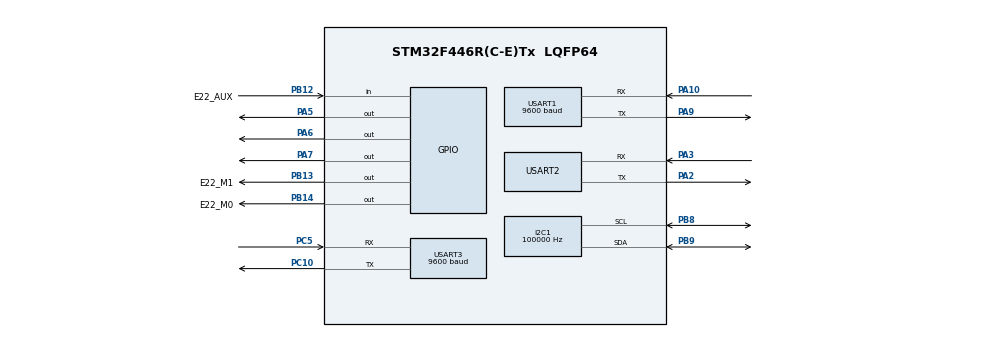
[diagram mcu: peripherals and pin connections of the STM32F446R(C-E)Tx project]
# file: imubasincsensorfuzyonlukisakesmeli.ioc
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I2C1.ClockSpeed=100000
Mcu.Family=STM32F4
Mcu.Name=STM32F446R(C-E)Tx
Mcu.Package=LQFP64
NVIC.PriorityGroup=NVIC_PRIORITYGROUP_4
NVIC.TIM3_IRQn=true\:0\:0\:false\:false\:true\:true\:true\:true
NVIC.USART1_IRQn=true\:0\:0\:false\:false\:true\:true\:true\:true
NVIC.USART2_IRQn=true\:0\:0\:false\:false\:true\:true\:true\:true
NVIC.USART3_IRQn=true\:0\:0\:false\:false\:true\:true\:true\:true
PA10.Mode=Asynchronous
PA10.Signal=USART1_RX
PA13.Mode=Serial_Wire
PA13.Signal=SYS_JTMS-SWDIO
PA14.Mode=Serial_Wire
PA14.Signal=SYS_JTCK-SWCLK
PA2.Mode=Asynchronous
PA2.Signal=USART2_TX
PA3.Mode=Asynchronous
PA3.Signal=USART2_RX
PA5.Signal=GPIO_Output
PA6.Signal=GPIO_Output
PA7.Signal=GPIO_Output
PA9.Mode=Asynchronous
PA9.Signal=USART1_TX
PB10.Signal=I2C2_SCL
PB12.GPIO_Label=E22_AUX
PB12.Signal=GPIO_Input
PB13.GPIO_Label=E22_M1
PB13.Signal=GPIO_Output
PB14.GPIO_Label=E22_M0
PB14.Signal=GPIO_Output
PB3.Signal=I2C2_SDA
PB8.GPIO_Pu=GPIO_PULLUP
PB8.Mode=I2C
PB8.Signal=I2C1_SCL
PB9.GPIO_Pu=GPIO_PULLUP
PB9.Mode=I2C
PB9.Signal=I2C1_SDA
PC10.Mode=Asynchronous
PC10.Signal=USART3_TX
PC5.Mode=Asynchronous
PC5.Signal=USART3_RX
ProjectManager.HeapSize=0x200
ProjectManager.StackSize=0x400
ProjectManager.TargetToolchain=STM32CubeIDE
RCC.CortexFreq_Value=16000000
RCC.USBFreq_Value=96000000
RCC.VCOOutputFreq_Value=192000000
TIM3.Period=999
TIM3.Prescaler=159
USART1.BaudRate=9600
USART1.VirtualMode=VM_ASYNC
USART2.VirtualMode=VM_ASYNC
USART3.BaudRate=9600
USART3.VirtualMode=VM_ASYNC
VP_TIM1_VS_ClockSourceINT.Mode=Internal
VP_TIM3_VS_ClockSourceINT.Mode=Internal
board=custom

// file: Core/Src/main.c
/* USER CODE BEGIN Header */
/**
  ******************************************************************************
  * @file           : main.c
  * @brief          : Main program body
  ******************************************************************************
  * @attention
  *
  * Copyright (c) 2026 STMicroelectronics.
  * All rights reserved.
  *
  * This software is licensed under terms that can be found in the LICENSE file
  * in the root directory of this software component.
  * If no LICENSE file comes with this software, it is provided AS-IS.
  *
  ******************************************************************************
  */
/* USER CODE END Header */
#include "main.h"

/* USER CODE BEGIN Includes */
#include "main.h"
#include "ms5611.h"
#include <math.h>
#include <stdint.h>
#include <string.h>
#include <stdio.h>
#include "LoRa_E22.h"

#include "flight_control.h"
#define RAD_TO_DEG 57.29577951
//roketin telemetri paketi bu şekilde olacak
#pragma pack(push, 1)

#pragma pack(pop)

// ----> ŞU SATIRI KESİNLİKLE EKLEMELİSİN <----

// --- BNO055 KALMAN YAPISI ---
typedef struct {
    float Q_angle, Q_bias, R_measure, angle, bias;
    float P[2][2];
} Kalman_t;
Kalman_t kalman_pitch;
uint32_t bno_son_zaman = 0;
volatile uint8_t timer_10ms_bayrak = 0;
// --- İRTİFA İÇİN 2 DURUMLU (STATE) KALMAN FİLTRESİ ---
typedef struct {
    float h;        // İrtifa (Metre)
    float v;        // Dikey Hız (Metre/Saniye) - Sadece filtre kararlılığı için hesaplanır
    float P[2][2];  // Hata Kovaryans Matrisi
    float Q_accel;  // İvmeölçer Süreç Gürültüsü
    float R_baro;   // Barometre Ölçüm Gürültüsü
} Kalman_Irtifa_t;

 Kalman_Irtifa_t IrtifaFiltresi;

// Yerçekimi sabiti
#define GRAVITY 9.80665f

// --- BNO055 DEĞİŞKENLERİ ---
#define BNO055_I2C_ADDR (0x28 << 1)
#define BNO055_OPR_MODE_REG 0x3D
#define OPR_MODE_CONFIG 0x00
#define OPR_MODE_ACCGYRO 0x05 // Sadece İvme ve Jiro, füzyon kapalı

// --- MS5611 DEĞİŞKENLERİ ---
//diğer dosyada

extern TIM_HandleTypeDef htim3; // Timer3 kullanacağımızı varsayıyoruz

Lora_t lora;
Lora_Config_t loraConfig;

UartHandler_t uart3;
/* USER CODE END Includes */

I2C_HandleTypeDef hi2c1;

TIM_HandleTypeDef htim1;
TIM_HandleTypeDef htim3;

UART_HandleTypeDef huart1;
UART_HandleTypeDef huart2;
UART_HandleTypeDef huart3;

/* USER CODE BEGIN PV */

volatile uint8_t bulunan_adresler[10] = {0}; // Bulunan sensörlerin adreslerini tutacak
volatile uint8_t cihaz_sayisi = 0;           // Kaç tane sensör bulduğunu sayacak

volatile uint32_t uart1_kesme_sayaci = 0;
volatile float anlik_deniz_seviyesi_irtifa = 0.0f;
extern volatile uint8_t ms5611_durum;
extern volatile uint32_t D1;
extern volatile uint32_t D2;

GPS_t                  rocketGPS;   // Tanım burada
volatile RoketTelemetri paket;      // Tanım burada

uint8_t rx_data;             // UART'tan anlık gelen tek karakter
char rx_buffer[100];         // GPS satırını biriktirdiğimiz dizi
uint8_t rx_index = 0;        // Dizinin neresinde olduğumuzu tutan sayaç
volatile char gps_sentence[100];      // İşlenecek tam satır
volatile uint8_t sentence_ready = 0;  // Yeni tam satır geldiğini belirten bayrak
        // GPS verilerini tutan yapı

volatile float acc_x = 0.0f;
volatile float acc_y = 0.0f;
volatile float acc_z = 0.0f;
volatile float gyro_x = 0.0f;
volatile float gyro_y = 0.0f;
volatile float gyro_z = 0.0f;

volatile float yer_irtifasi = 0.0f;
volatile uint8_t yer_irtifasi_alindi = 0;
volatile float toplam = 0.0f;
volatile uint8_t ortalama_sayaci = 0;

/* USER CODE END PV */

void SystemClock_Config(void);
static void MX_GPIO_Init(void);
static void MX_I2C1_Init(void);
static void MX_TIM3_Init(void);
static void MX_USART1_UART_Init(void);
static void MX_USART2_UART_Init(void);
static void MX_TIM1_Init(void);
static void MX_USART3_UART_Init(void);

/* USER CODE BEGIN 0 */

//*************BURASI MAİN İÇERİSİNDE ÇAĞIRILACAK***************

        //irtifa için imu ve basıncı tek kalmana sokup dikey hız ile daha dengeli veri elde ediyoruz.

        void Kalman_Irtifa_Init(Kalman_Irtifa_t *kf, float baslangic_irtifasi) {
            kf->h = baslangic_irtifasi;
            kf->v = 0.0f;

            // Başlangıç güvenilirliği (İlk başta belirsizlik yüksek)
            kf->P[0][0] = 10.0f; kf->P[0][1] = 0.0f;
            kf->P[1][0] = 0.0f;  kf->P[1][1] = 10.0f;

            // Gürültü Parametreleri (Test uçuşlarına göre ayarlanabilir)
            kf->Q_accel = 0.5f;   // İvme gürültüsü varyansı
            kf->R_baro = 2.0f;    // Barometre gürültüsü varyansı (Gürültülü sensör için yüksek)
        }

        // 1. ADIM: Her 10 ms'de bir ivmeölçer ile çalışır
        void Kalman_Irtifa_Predict(Kalman_Irtifa_t *kf, float dikey_ivme, float dt) {
            // Durum tahmini: h = h + v*dt + 0.5*a*dt^2
            kf->h += kf->v * dt + 0.5f * dikey_ivme * dt * dt;
            kf->v += dikey_ivme * dt;

            // Kovaryans güncellemesi: P = F*P*F^T + Q
            kf->P[0][0] += dt * (kf->P[1][0] + kf->P[0][1]) + (dt * dt * kf->P[1][1]) + (kf->Q_accel * dt * dt * dt * dt / 4.0f);
            kf->P[0][1] += dt * kf->P[1][1] + (kf->Q_accel * dt * dt * dt / 2.0f);
            kf->P[1][0] += dt * kf->P[1][1] + (kf->Q_accel * dt * dt * dt / 2.0f);
            kf->P[1][1] += kf->Q_accel * dt * dt;
        }

        //*****************************************************---------------------**********************-----------------*********a bgöefvhdx bnJLWGFVHB*******************
        // 2. ADIM: Barometre verisi (20 ms'de bir) hazır olduğunda çalışır
       /* genel callback 10 ms de bir çalışır, ımu veri verebilir 10 ms de bir o yüzden predict
		çalışır ama baro ms511 state machine ile ımuyu bekletmeden if bloğunun içine girmeden,
		hazır olduğunda if bloğunun içine girirek 20 ms de bir okunur yani o halde update ise 20 ms de bir çalışır
		yalnız update in ihtiyaç duyduğu kf->h ve ve p ler (p en başta sadece ımu ile hazırlanır sonra update alışmasından sonra
				basınçdan gelen veri ile de dengelenmiş olur sonra predict ile ımudan alınann veriye göre üstüne katılır tahminin) her 10 ms de bir güncel verilerin fotoğrafı ile oluşur yeaahhh.
				*/

        void Kalman_Irtifa_Update(Kalman_Irtifa_t *kf, float olculen_irtifa) {
            // y = z - H*X (Fark)
            float y = olculen_irtifa - kf->h;

            // S = H*P*H^T + R
            float S = kf->P[0][0] + kf->R_baro;

            // Kalman Kazancı (K = P*H^T / S)
            float K0 = kf->P[0][0] / S;
            float K1 = kf->P[1][0] / S;

            // Durumu Güncelle (X = X + K*y)
            kf->h += K0 * y;
            kf->v += K1 * y;

            // Kovaryansı Güncelle (P = (I - K*H)*P)
            float P00_temp = kf->P[0][0];
            float P01_temp = kf->P[0][1];
            kf->P[0][0] -= K0 * P00_temp;
            kf->P[0][1] -= K0 * P01_temp;
            kf->P[1][0] -= K1 * P00_temp;
            kf->P[1][1] -= K1 * P01_temp;
        }

        //BNO FONKSİYONLARI VE KALMAN FİLTRESİ

        void i2c_register_yaz(uint8_t reg, uint8_t veri) {
            HAL_I2C_Mem_Write(&hi2c1, BNO055_I2C_ADDR, reg, I2C_MEMADD_SIZE_8BIT, &veri, 1, 100);
        }
/*
        int16_t i2c_register_oku16(uint8_t reg) {
            uint8_t data[2]= {0, 0};
            HAL_I2C_Mem_Read(&hi2c1, BNO055_I2C_ADDR, reg, I2C_MEMADD_SIZE_8BIT, data, 2, 100);
            return (int16_t)((data[1] << 8) | data[0]);
        }
       */

        int16_t i2c_register_oku16(uint8_t reg) {
            uint8_t data[2]= {0, 0};
            HAL_StatusTypeDef durum = HAL_I2C_Mem_Read(&hi2c1, BNO055_I2C_ADDR, reg, I2C_MEMADD_SIZE_8BIT, data, 2, 100);

            // Eğer iletişim hatası veya kilitlenme varsa
            if (durum != HAL_OK) {
                // Ana döngüdeki donanım sıfırlama (hayat öpücüğü) bloğunu zorla tetikle
                hi2c1.ErrorCode = HAL_I2C_ERROR_AF;
                return 0;
            }

            return (int16_t)((data[1] << 8) | data[0]);
        }

        //-----------------------------------------------------------------------------------------------------
        void I2C_Tarayici_Calistir(void) {
            char mesaj[60];
            uint8_t cihaz_sayisi = 0;

            sprintf(mesaj, "\r\n--- I2C TARAMASI BASLIYOR ---\r\n");
            HAL_UART_Transmit(&huart2, (uint8_t*)mesaj, strlen(mesaj), 100);

            // 1'den 127'ye kadar tüm olası I2C adreslerini tara
            for (uint8_t i = 1; i < 128; i++) {
                // STM32 HAL kütüphanesi adresi 1 bit sola kaydırılmış (<< 1) olarak ister
                HAL_StatusTypeDef sonuc = HAL_I2C_IsDeviceReady(&hi2c1, (uint16_t)(i << 1), 3, 10);

                if (sonuc == HAL_OK) {
                    sprintf(mesaj, "-> Cihaz Bulundu! Adres: 0x%02X\r\n", i);
                    HAL_UART_Transmit(&huart2, (uint8_t*)mesaj, strlen(mesaj), 100);
                    cihaz_sayisi++;
                }
            }

            if (cihaz_sayisi == 0) {
                sprintf(mesaj, "HATA: Hicbir I2C cihazi bulunamadi!\r\n");
            } else {
                sprintf(mesaj, "Tarama Bitti. Toplam Cihaz: %d\r\n", cihaz_sayisi);
            }
            HAL_UART_Transmit(&huart2, (uint8_t*)mesaj, strlen(mesaj), 100);
            sprintf(mesaj, "-----------------------------\r\n");
            HAL_UART_Transmit(&huart2, (uint8_t*)mesaj, strlen(mesaj), 100);
        }
        //------------------------------------------------------------------------------------------------------

        void bno055_kurulum() {
            i2c_register_yaz(BNO055_OPR_MODE_REG, OPR_MODE_CONFIG);
            HAL_Delay(25);
            i2c_register_yaz(BNO055_OPR_MODE_REG, OPR_MODE_ACCGYRO);
            HAL_Delay(15);

            kalman_pitch.Q_angle = 0.001f; kalman_pitch.Q_bias = 0.003f; kalman_pitch.R_measure = 0.01f;
            bno_son_zaman = HAL_GetTick();
        }

        float kalman_hesapla_pitch(Kalman_t *klm, float yeni_olcum, float gyro_hizi, float dt) {
            klm->angle += dt * (gyro_hizi - klm->bias);
            klm->P[0][0] += dt * (dt * klm->P[1][1] - klm->P[0][1] - klm->P[1][0] + klm->Q_angle);
            klm->P[0][1] -= dt * klm->P[1][1]; klm->P[1][0] -= dt * klm->P[1][1];
            klm->P[1][1] += klm->Q_bias * dt;

            float y = yeni_olcum - klm->angle;

            float S = klm->P[0][0] + klm->R_measure;
            float K0 = klm->P[0][0] / S; float K1 = klm->P[1][0] / S;

            klm->angle += K0 * y; klm->bias += K1 * y;
            float P00_temp = klm->P[0][0]; float P01_temp = klm->P[0][1];
            klm->P[0][0] -= K0 * P00_temp; klm->P[0][1] -= K0 * P01_temp;
            klm->P[1][0] -= K1 * P00_temp; klm->P[1][1] -= K1 * P01_temp;

            return klm->angle;
        }

        void HAL_TIM_PeriodElapsedCallback(TIM_HandleTypeDef *htim)
        {
            // Hangi timer'ın kesmeye girdiğini kontrol ediyoruz (Sizin projenizde TIM3)
            if(htim->Instance == TIM3)
            {
                // Sadece bayrağı kaldır. Başka HİÇBİR işlem yapma, okuma yapma, bekleme yapma!
                timer_10ms_bayrak = 1;
            }
        }

        //KESME FONKSİYONU ÇALIŞIP BAYRAK 1 YAPIP ÇIKIYOR HEMEN KESMEDE AKSAMA MEYDANA GELMEZ

        void I2C_Hatti_Kurtar(void)
                {
                    GPIO_InitTypeDef GPIO_InitStruct = {0};

                    // 1. STM32 I2C DONANIM BUG'I ÇÖZÜMÜ: Çevre biriminin şalterini indirip kaldır!
                    __HAL_RCC_I2C1_FORCE_RESET();
                    HAL_Delay(2);
                    __HAL_RCC_I2C1_RELEASE_RESET();

                    // 2. I2C çevre birimini tamamen kapat
                    HAL_I2C_DeInit(&hi2c1);

                    // 3. SCL ve SDA'yı manuel GPIO çıkışı yap (Open-Drain, Pull-Up ile)
                    __HAL_RCC_GPIOB_CLK_ENABLE();

                    GPIO_InitStruct.Pin   = GPIO_PIN_8 | GPIO_PIN_9; // PB8=SCL, PB9=SDA (F446RE Pinleri)
                    GPIO_InitStruct.Mode  = GPIO_MODE_OUTPUT_OD;
                    GPIO_InitStruct.Pull  = GPIO_PULLUP;
                    GPIO_InitStruct.Speed = GPIO_SPEED_FREQ_LOW;
                    HAL_GPIO_Init(GPIOB, &GPIO_InitStruct);

                    // SDA'yı HIGH bırak, SCL'i de HIGH'dan başlat
                    HAL_GPIO_WritePin(GPIOB, GPIO_PIN_9, GPIO_PIN_SET); // SDA HIGH
                    HAL_GPIO_WritePin(GPIOB, GPIO_PIN_8, GPIO_PIN_SET); // SCL HIGH
                    HAL_Delay(1);

                    // 4. SCL'e 9 adet manuel darbe ver (Sensörleri serbest bırak)
                    for (int i = 0; i < 9; i++)
                    {
                        HAL_GPIO_WritePin(GPIOB, GPIO_PIN_8, GPIO_PIN_RESET); // SCL LOW
                        HAL_Delay(1);
                        HAL_GPIO_WritePin(GPIOB, GPIO_PIN_8, GPIO_PIN_SET);   // SCL HIGH
                        HAL_Delay(1);

                        // SDA HIGH'a çıktı mı? (Sensör hattı bıraktı mı kontrol et)
                        if (HAL_GPIO_ReadPin(GPIOB, GPIO_PIN_9) == GPIO_PIN_SET)
                        {
                            break;
                        }
                    }

                    // 5. STOP koşulu üret
                    HAL_GPIO_WritePin(GPIOB, GPIO_PIN_9, GPIO_PIN_RESET);
                    HAL_Delay(1);
                    HAL_GPIO_WritePin(GPIOB, GPIO_PIN_8, GPIO_PIN_SET);
                    HAL_Delay(1);
                    HAL_GPIO_WritePin(GPIOB, GPIO_PIN_9, GPIO_PIN_SET);
                    HAL_Delay(1);

                    // 6. Pinleri tekrar I2C moduna al ve çevrebrimini yeniden başlat
                    MX_I2C1_Init();

                    // 7. MS5611 STATE MACHINE'İ BAŞA SAR (Kilitlenmeyi önler)
                    ms5611_durum = 0;

                    // 8. Sensörleri yeniden kur
                    bno055_kurulum();
                    MS5611_Kurulum_Yap();

                    // 9. Kalman hafızasını temizle
                    yer_irtifasi_alindi = 0;
                    ortalama_sayaci     = 0;
                    toplam              = 0.0f;
                    Kalman_Irtifa_Init(&IrtifaFiltresi, 0.0f);

                    // Hata bayrağını tertemiz yap
                    hi2c1.ErrorCode = 0;
                }

/* USER CODE END 0 */

int main(void)
{

  /* MCU Configuration--------------------------------------------------------*/

  /* Reset of all peripherals, Initializes the Flash interface and the Systick. */
  HAL_Init();

  /* Configure the system clock */
  SystemClock_Config();

  /* Initialize all configured peripherals */
  MX_GPIO_Init();
  MX_I2C1_Init();
  MX_TIM3_Init();
  MX_USART1_UART_Init();
  MX_USART2_UART_Init();
  MX_TIM1_Init();
  MX_USART3_UART_Init();
  /* USER CODE BEGIN 2 */
  HAL_Delay(500);

  // SESSİZ I2C TARAYICI (Live Expressions İçin)
    cihaz_sayisi = 0;
    for(uint8_t i = 1; i < 128; i++) {
        // Adresi 1 bit sola kaydırarak yolluyoruz
        HAL_StatusTypeDef sonuc = HAL_I2C_IsDeviceReady(&hi2c1, (uint16_t)(i << 1), 3, 10);

        if(sonuc == HAL_OK) {
            if(cihaz_sayisi < 10) {
                bulunan_adresler[cihaz_sayisi] = i; // Cihaz bulursa adresi diziye kaydet
                cihaz_sayisi++;
            }
        }
    }

  // I2C Hattını Tara ve Sonuçları Gönder
    I2C_Tarayici_Calistir();

  bno055_kurulum();  // BNO055'i uçuş moduna al
  MS5611_Kurulum_Yap();

      paket.ucus_durumu = 0; // Roket rampada

      HAL_TIM_Base_Start_IT(&htim3); // ÇOK KRİTİK: 10ms sayacını (kesmeyi) başlat!HEYYYYYYYYYYYYYUNUTMA
      // ---> GPS İÇİN UART DİNLEMESİNİ BAŞLAT (huart1 varsayımıyla) <---
      //-------------------------------------**********************************************************GPS

      // GPS BAŞLAMADAN ÖNCE TAŞMAYI TEMİZLE Kİ KİLİTLENMESİN
        __HAL_UART_CLEAR_OREFLAG(&huart1);
        HAL_UART_Receive_IT(&huart1, &rx_data, 1);

        RingBuffer_t rb;
        uart3.ringBuffer = &rb;
        uart3.uart = &huart3;
        Uart_Init(&uart3);

        Lora_Init_t loraInit;
        loraInit.auxPin = E22_AUX_Pin;
        loraInit.auxPort = E22_AUX_GPIO_Port;
        loraInit.m0Pin = E22_M0_Pin;
        loraInit.m0Port = E22_M0_GPIO_Port;
        loraInit.m1Pin = E22_M1_Pin;
        loraInit.m1Port = E22_M1_GPIO_Port;
        loraInit.baudRate = 9600;
        loraInit.bufferSize = 240;
        loraInit.prefix = 10;
        loraInit.suffix = 20;

        Lora_Init(&lora, &loraInit, &uart3);
  /* USER CODE END 2 */

  /* Infinite loop */
  /* USER CODE BEGIN WHILE */
      uint32_t son_telemetri_zamani = 0;
         char mesaj[150];
  while (1)
  {
    /* USER CODE END WHILE */

    /* USER CODE BEGIN 3 */

  if (timer_10ms_bayrak == 1)
  	        {

	  if (hi2c1.ErrorCode != 0) {
	      I2C_Hatti_Kurtar();  // Tek satır, her şeyi halleder
	  }

  	            timer_10ms_bayrak = 0;  // AMA ZATEN BU KOD BİTENE KADAR 10 MSÇOKTAN GEÇER BİR MANTIĞI YOK DEĞİL ÇÜNKÜ ALTTAKİ MS5611 İÇİN BEKLEME YAPMIYORUZ SÜRE DOLDU MU DİYE KONTROL EDİYORUZ
  	           // O YÜZDEN 2 MS SÜRER VE GERİYE 8 MS BOŞLUK KALIR. Sabit kalması kalman filtresinin delta t si için mantıklı
  				// yani sabit 10 ms olması. Ayrıca ımu içinde 10 ms süre iyi. 2 ms de bir kodu sensörden veri almaya yollarsan olmaz.
  	            // tekli kalman örneğin sadece barometre bile olsa Q süreç gürültüsü zamandan etkilenir, pitch için ise gyroyu zamandal integralleyip üst üste topluyorduk zten yine sabit zaman ihtiyaç duyar

  	          if (sentence_ready == 1) {
  	        	sentence_ready = 0; // Bayrağı indir
  	          	  	            if (strncmp(gps_sentence, "$GPGGA", 6) == 0 || strncmp(gps_sentence, "$GNGGA", 6) == 0) {
  	          	  	                char *ptr = gps_sentence;
  	          	  	                int comma_count = 0;

  	          	  	              while (*ptr) {
  	          	  	                  if (*ptr == ',') {
  	          	  	                      comma_count++;

  	          	  	                      // Sadece 2. (Enlem) ve 4. (Boylam) virgülde Derece/Dakika hesabı yap!
  	          	  	                      if (comma_count == 2 || comma_count == 4) {
  	          	  	                          float raw = atof(ptr + 1);
  	          	  	                          int derece = (int)(raw / 100);
  	          	  	                          float dakika = raw - (derece * 100);

  	          	  	                          if (comma_count == 2) rocketGPS.latitude = derece + dakika / 60.0f;
  	          	  	                          if (comma_count == 4) rocketGPS.longitude = derece + dakika / 60.0f;
  	          	  	                      }

  	          	  	                      // Diğer verileri normal al
  	          	  	                      if (comma_count == 6) rocketGPS.fix_quality = atoi(ptr + 1);
  	          	  	                      if (comma_count == 9) rocketGPS.altitude = atof(ptr + 1);
  	          	  	                  }
  	          	  	                  ptr++;
  	          	  	                  if (comma_count > 9) break;
  	          	  	              }
  	          	  	            }

  	          	  	        }

  	                    uint32_t su_an = HAL_GetTick();
  	                    paket.zaman_damgasi = su_an;

  	                    // 1. BNO055 OKUMA VE KALMAN (Her 10ms'de bir)
  	                    // dt her zaman sabit 0.01 saniye (10ms) olduğu için hesaplama mükemmel çalışır
  	                    //float dt = 0.01f;

  	                    // 1. BNO055 OKUMA VE KALMAN (Her 10ms'de bir)
  	                    float dt = 0.01f;

  	                  acc_x  = i2c_register_oku16(0x08) / 100.0f;
  	                  acc_y  = i2c_register_oku16(0x0A) / 100.0f;
  	                  acc_z  = i2c_register_oku16(0x0C) / 100.0f;
  	                  gyro_x = i2c_register_oku16(0x14) / 16.0f;
  	                  gyro_y = i2c_register_oku16(0x16) / 16.0f;
  	                  gyro_z = i2c_register_oku16(0x18) / 16.0f;

  	                                  // Roket dik konumda 0, yataya geldiğinde 90 derece kuralı:

  	               // float raw_pitch = atan2(acc_x, sqrt((acc_y * acc_y) + (acc_z * acc_z)));

  	              // float current_pitch = raw_pitch * RAD_TO_DEG;

  	                float yatay_ivme = sqrtf(acc_y*acc_y + acc_z*acc_z);
  	                float raw_pitch = atan2f(yatay_ivme, acc_x);
  	                float current_pitch = raw_pitch * RAD_TO_DEG;

  	                  /*
  	                // 1. Yatay eksenlerin (X ve Y) vektörel büyüklüğünü alıyoruz (Sadece pozitif değer üretir)
  	                float yatay_ivme = sqrt((acc_x * acc_x) + (acc_y * acc_y));

  	                // 2. atan2(Y, X) kuralına göre:
  	                // - Y parametresine yatay bileşkeyi koyuyoruz.
  	                // - X parametresine boylamasına eksen olan Z'yi koyuyoruz.
  	                // Z ekseni dik konumda -9 olduğu için önüne (-) koyarak 0 dereceyi referans noktası yapıyoruz.
  	                float raw_pitch = atan2(yatay_ivme, -acc_z);
  	                float current_pitch = raw_pitch * RAD_TO_DEG;
*/
  	                // 3. Kalman filtresine gönderiyoruz
  	                paket.pitch_acisi = kalman_hesapla_pitch(&kalman_pitch, current_pitch, -gyro_y, dt);

  	                          //  paket.pitch_acisi = current_pitch;

  	                                  // --- İRTİFA İÇİN DİKEY İVME HESABI ---
  	                                          // Roketin X ekseni boylamasına ise, dik dururken acc_x 9.81 gösterir.
  	                                          // Açıya göre bunu dünya eksenindeki dikey ivmeye çevirip yerçekimini çıkarıyoruz.
  	                                          // pitch_acisi dik konumda 0 ise:
  	                             //   float pitch_rad = paket.pitch_acisi / RAD_TO_DEG;
  	                             //   float dikey_ivme = (acc_x * sin(pitch_rad) + acc_z * cos(pitch_rad)) - GRAVITY;
  	                               // YENİ VE KUSURSUZ KISIM:
  	                               float ivme_vektoru = sqrt((acc_x * acc_x) + (acc_y * acc_y) + (acc_z * acc_z));
  	                               float dikey_ivme = ivme_vektoru - GRAVITY;
  	                                          // Kalman 1. Adım: Her 10 ms'de İvme ile Tahmin (Predict)
  	                                          Kalman_Irtifa_Predict(&IrtifaFiltresi, dikey_ivme, dt);

  	                                  // 2. MS5611 STATE MACHINE    BURASI DİĞER DOSYADA
  	                                  // Döngünün kendisi zaten tam 10ms sürdüğü için ekstra zaman kontrolüne gerek yok!
  	                                  //ms5611 süre kontrolüyle non blocking yapalım
  	                                        MS5611_Basinc_Guncelle();
  	                            //-------------------------------------------------------------------------------------------------------------------------------------------------------------------------------------------------------
  	                                      anlik_deniz_seviyesi_irtifa = 44330.0f * (1.0f - powf(paket.basinc_mbar / 1013.25f, 0.190295f));

  	                                      // Rampa İrtifasını Kaydetme (Referans Noktası)
  	                                      //****** ROKETİN RAMPADA BULUNDUĞU İLİN İRTİFASI BURAYA GİRİLECEK ŞİMDİLİK 0 KABUL EDİYORUZ***********

                                    // yer irtifası = anlik deniz seviyesi irtifa ama ilk 5 ölçümün ortalamasını al
  	                                    if (paket.basinc_mbar > 100.0f) {
  	                                      if (yer_irtifasi_alindi == 0) {
  	                                    	// İlk N ölçümün ortalamasını al

  	                                    	if (ortalama_sayaci < 20) {
  	                                    	    toplam += anlik_deniz_seviyesi_irtifa;
  	                                    	    ortalama_sayaci++;
  	                                    	} else if (yer_irtifasi_alindi == 0) {
  	                                    	    yer_irtifasi = toplam / 20.0f;
  	                                    	    yer_irtifasi_alindi = 1;
  	                                    	    Kalman_Irtifa_Init(&IrtifaFiltresi, 0.0f);
  	                                    	}

  	                                      }
  	                                    }
  	                                      float baro_irtifa_metre = anlik_deniz_seviyesi_irtifa - yer_irtifasi;
  	                                    if (yer_irtifasi_alindi == 1) {
  	                                                  // Kalman 2. Adım: Barometre verisi hazır olduğunda Güncelle (Update)
  	                                                  Kalman_Irtifa_Update(&IrtifaFiltresi, baro_irtifa_metre);
  	                                    }

  	                                  }
  	                                      // Roketin yerden yüksekliğini ayarlayalım ve güncelleyelim
  	                                     paket.irtifa_metre = IrtifaFiltresi.h;

  	                                 //  paket.irtifa_metre = 3700.0f;

  	                                      //PAKET UCUS DURUMU=0 hiçbirşey açılmadı (rampada veya tırmanışta) =1 sürükleme paraşütü açıldı 2 ana paraşüt açıldı ve bitti
  	                                   Ucus_Durum_Kontrol();

uint32_t su_an_telemetri = HAL_GetTick();

	        // Eğer son gönderimden bu yana 50 ms (veya istediğiniz süre) geçtiyse
	        if (su_an_telemetri - son_telemetri_zamani >= 200)  //paketi eğer  50 ms geçtiyse kargoya ver (uarta ver)
	        {
	            son_telemetri_zamani = su_an_telemetri;

	            sprintf(mesaj, "Zaman: %lu | Durum: %d | Pitch: %d | Basinc: %d | Enlem: %.4f | Boylam: %.4f\r\n",
	                              paket.zaman_damgasi,
	                              paket.ucus_durumu,
	                              (int)paket.pitch_acisi,
	                              (int)paket.basinc_mbar,
	                              rocketGPS.latitude,
	                              rocketGPS.longitude);

	            // DİKKAT: _IT (Interrupt) veya _DMA versiyonunu kullanıyoruz!
	            // İşlemci burada beklemez, sadece veriyi donanıma iletir ve anında alt satıra geçer.
	            paket.accX = acc_x;
	            paket.accY = acc_y;
	            paket.accZ = acc_z;
	            paket.gyroX = gyro_x;
	            paket.gyroY = gyro_y;
	            paket.gyroZ = gyro_z;
	            paket.gps = rocketGPS;
	            Lora_Write(&lora, 101, 18, &paket, sizeof(paket));
	            // 50 ms geçti yeni paket kargo geldi ama hala eskisini teslim ediyor ise bunun uart hızını ayarlaman lazım.
	            // eğer uart hızın 115.200 bit/saniye  ise  sanieyede yani 1000 ms de 11520 (1 karakter 10 bit) karakter gönderirsin ama senin paketin 120 char zaten.
	            //eğer 9600 bps yaparsan 960 karakteri 1000 ms de 120 karakteri de 110 ms de gönderir yani 50 yi aşar ve yetiştiremediği paket uçar 3. paketi ancak götürür, işi o zamana biter
// KESME OLMASAYDI (IT OLMASAYDI SADECE TRANSMİT OLSAYDI) verinin gitmesini beklemek uzun sürerdi ve bayrak o sırada kalkardı ve bizim 0 yapmamaızın önemi olmadan hep 1 olurdu.
	            //yani 10 ms yi geçer süre ve kalman çöker
	            //yer istasyonu 20 Hz yani bu paket saniyede 20 kez gidecek ve 1000 ms / 20 yani her 50 ms de bir bu paket gidecek
	            // kesme ile sen bu verileri gönder, bittiğinde haber veririsin yani uartun meşgulunu rahata çekersin
	            // HAL_Delay(50); // <-- BU KESİNLİKLE SİLİNDİ!
	        }
}

  /* USER CODE END 3 */
}

void SystemClock_Config(void)
{
  RCC_OscInitTypeDef RCC_OscInitStruct = {0};
  RCC_ClkInitTypeDef RCC_ClkInitStruct = {0};

  /** Configure the main internal regulator output voltage
  */
  __HAL_RCC_PWR_CLK_ENABLE();
  __HAL_PWR_VOLTAGESCALING_CONFIG(PWR_REGULATOR_VOLTAGE_SCALE3);

  /** Initializes the RCC Oscillators according to the specified parameters
  * in the RCC_OscInitTypeDef structure.
  */
  RCC_OscInitStruct.OscillatorType = RCC_OSCILLATORTYPE_HSI;
  RCC_OscInitStruct.HSIState = RCC_HSI_ON;
  RCC_OscInitStruct.HSICalibrationValue = RCC_HSICALIBRATION_DEFAULT;
  RCC_OscInitStruct.PLL.PLLState = RCC_PLL_NONE;
  if (HAL_RCC_OscConfig(&RCC_OscInitStruct) != HAL_OK)
  {
    Error_Handler();
  }

  /** Initializes the CPU, AHB and APB buses clocks
  */
  RCC_ClkInitStruct.ClockType = RCC_CLOCKTYPE_HCLK|RCC_CLOCKTYPE_SYSCLK
                              |RCC_CLOCKTYPE_PCLK1|RCC_CLOCKTYPE_PCLK2;
  RCC_ClkInitStruct.SYSCLKSource = RCC_SYSCLKSOURCE_HSI;
  RCC_ClkInitStruct.AHBCLKDivider = RCC_SYSCLK_DIV1;
  RCC_ClkInitStruct.APB1CLKDivider = RCC_HCLK_DIV1;
  RCC_ClkInitStruct.APB2CLKDivider = RCC_HCLK_DIV1;

  if (HAL_RCC_ClockConfig(&RCC_ClkInitStruct, FLASH_LATENCY_0) != HAL_OK)
  {
    Error_Handler();
  }
}

static void MX_I2C1_Init(void)
{

  hi2c1.Instance = I2C1;
  hi2c1.Init.ClockSpeed = 100000;
  hi2c1.Init.DutyCycle = I2C_DUTYCYCLE_2;
  hi2c1.Init.OwnAddress1 = 0;
  hi2c1.Init.AddressingMode = I2C_ADDRESSINGMODE_7BIT;
  hi2c1.Init.DualAddressMode = I2C_DUALADDRESS_DISABLE;
  hi2c1.Init.OwnAddress2 = 0;
  hi2c1.Init.GeneralCallMode = I2C_GENERALCALL_DISABLE;
  hi2c1.Init.NoStretchMode = I2C_NOSTRETCH_DISABLE;
  if (HAL_I2C_Init(&hi2c1) != HAL_OK)
  {
    Error_Handler();
  }

}

static void MX_TIM1_Init(void)
{

  TIM_ClockConfigTypeDef sClockSourceConfig = {0};
  TIM_MasterConfigTypeDef sMasterConfig = {0};

  htim1.Instance = TIM1;
  htim1.Init.Prescaler = 0;
  htim1.Init.CounterMode = TIM_COUNTERMODE_UP;
  htim1.Init.Period = 65535;
  htim1.Init.ClockDivision = TIM_CLOCKDIVISION_DIV1;
  htim1.Init.RepetitionCounter = 0;
  htim1.Init.AutoReloadPreload = TIM_AUTORELOAD_PRELOAD_DISABLE;
  if (HAL_TIM_Base_Init(&htim1) != HAL_OK)
  {
    Error_Handler();
  }
  sClockSourceConfig.ClockSource = TIM_CLOCKSOURCE_INTERNAL;
  if (HAL_TIM_ConfigClockSource(&htim1, &sClockSourceConfig) != HAL_OK)
  {
    Error_Handler();
  }
  sMasterConfig.MasterOutputTrigger = TIM_TRGO_RESET;
  sMasterConfig.MasterSlaveMode = TIM_MASTERSLAVEMODE_DISABLE;
  if (HAL_TIMEx_MasterConfigSynchronization(&htim1, &sMasterConfig) != HAL_OK)
  {
    Error_Handler();
  }

}

static void MX_TIM3_Init(void)
{

  TIM_ClockConfigTypeDef sClockSourceConfig = {0};
  TIM_MasterConfigTypeDef sMasterConfig = {0};

  htim3.Instance = TIM3;
  htim3.Init.Prescaler = 159;
  htim3.Init.CounterMode = TIM_COUNTERMODE_UP;
  htim3.Init.Period = 999;
  htim3.Init.ClockDivision = TIM_CLOCKDIVISION_DIV1;
  htim3.Init.AutoReloadPreload = TIM_AUTORELOAD_PRELOAD_DISABLE;
  if (HAL_TIM_Base_Init(&htim3) != HAL_OK)
  {
    Error_Handler();
  }
  sClockSourceConfig.ClockSource = TIM_CLOCKSOURCE_INTERNAL;
  if (HAL_TIM_ConfigClockSource(&htim3, &sClockSourceConfig) != HAL_OK)
  {
    Error_Handler();
  }
  sMasterConfig.MasterOutputTrigger = TIM_TRGO_RESET;
  sMasterConfig.MasterSlaveMode = TIM_MASTERSLAVEMODE_DISABLE;
  if (HAL_TIMEx_MasterConfigSynchronization(&htim3, &sMasterConfig) != HAL_OK)
  {
    Error_Handler();
  }

}

static void MX_USART1_UART_Init(void)
{

  huart1.Instance = USART1;
  huart1.Init.BaudRate = 9600;
  huart1.Init.WordLength = UART_WORDLENGTH_8B;
  huart1.Init.StopBits = UART_STOPBITS_1;
  huart1.Init.Parity = UART_PARITY_NONE;
  huart1.Init.Mode = UART_MODE_TX_RX;
  huart1.Init.HwFlowCtl = UART_HWCONTROL_NONE;
  huart1.Init.OverSampling = UART_OVERSAMPLING_16;
  if (HAL_UART_Init(&huart1) != HAL_OK)
  {
    Error_Handler();
  }

}

static void MX_USART2_UART_Init(void)
{

  huart2.Instance = USART2;
  huart2.Init.BaudRate = 115200;
  huart2.Init.WordLength = UART_WORDLENGTH_8B;
  huart2.Init.StopBits = UART_STOPBITS_1;
  huart2.Init.Parity = UART_PARITY_NONE;
  huart2.Init.Mode = UART_MODE_TX_RX;
  huart2.Init.HwFlowCtl = UART_HWCONTROL_NONE;
  huart2.Init.OverSampling = UART_OVERSAMPLING_16;
  if (HAL_UART_Init(&huart2) != HAL_OK)
  {
    Error_Handler();
  }

}

static void MX_USART3_UART_Init(void)
{

  huart3.Instance = USART3;
  huart3.Init.BaudRate = 9600;
  huart3.Init.WordLength = UART_WORDLENGTH_8B;
  huart3.Init.StopBits = UART_STOPBITS_1;
  huart3.Init.Parity = UART_PARITY_NONE;
  huart3.Init.Mode = UART_MODE_TX_RX;
  huart3.Init.HwFlowCtl = UART_HWCONTROL_NONE;
  huart3.Init.OverSampling = UART_OVERSAMPLING_16;
  if (HAL_UART_Init(&huart3) != HAL_OK)
  {
    Error_Handler();
  }

}

static void MX_GPIO_Init(void)
{
  GPIO_InitTypeDef GPIO_InitStruct = {0};

  /* GPIO Ports Clock Enable */
  __HAL_RCC_GPIOA_CLK_ENABLE();
  __HAL_RCC_GPIOC_CLK_ENABLE();
  __HAL_RCC_GPIOB_CLK_ENABLE();

  /*Configure GPIO pin Output Level */
  HAL_GPIO_WritePin(GPIOA, GPIO_PIN_5|GPIO_PIN_6|GPIO_PIN_7, GPIO_PIN_RESET);

  /*Configure GPIO pin Output Level */
  HAL_GPIO_WritePin(GPIOB, E22_M1_Pin|E22_M0_Pin, GPIO_PIN_RESET);

  /*Configure GPIO pins : PA5 PA6 PA7 */
  GPIO_InitStruct.Pin = GPIO_PIN_5|GPIO_PIN_6|GPIO_PIN_7;
  GPIO_InitStruct.Mode = GPIO_MODE_OUTPUT_PP;
  GPIO_InitStruct.Pull = GPIO_NOPULL;
  GPIO_InitStruct.Speed = GPIO_SPEED_FREQ_LOW;
  HAL_GPIO_Init(GPIOA, &GPIO_InitStruct);

  /*Configure GPIO pins : PB10 PB3 */
  GPIO_InitStruct.Pin = GPIO_PIN_10|GPIO_PIN_3;
  GPIO_InitStruct.Mode = GPIO_MODE_AF_OD;
  GPIO_InitStruct.Pull = GPIO_NOPULL;
  GPIO_InitStruct.Speed = GPIO_SPEED_FREQ_VERY_HIGH;
  GPIO_InitStruct.Alternate = GPIO_AF4_I2C2;
  HAL_GPIO_Init(GPIOB, &GPIO_InitStruct);

  /*Configure GPIO pin : E22_AUX_Pin */
  GPIO_InitStruct.Pin = E22_AUX_Pin;
  GPIO_InitStruct.Mode = GPIO_MODE_INPUT;
  GPIO_InitStruct.Pull = GPIO_NOPULL;
  HAL_GPIO_Init(E22_AUX_GPIO_Port, &GPIO_InitStruct);

  /*Configure GPIO pins : E22_M1_Pin E22_M0_Pin */
  GPIO_InitStruct.Pin = E22_M1_Pin|E22_M0_Pin;
  GPIO_InitStruct.Mode = GPIO_MODE_OUTPUT_PP;
  GPIO_InitStruct.Pull = GPIO_NOPULL;
  GPIO_InitStruct.Speed = GPIO_SPEED_FREQ_LOW;
  HAL_GPIO_Init(GPIOB, &GPIO_InitStruct);

}

/* USER CODE BEGIN 4 */

void HAL_UART_RxCpltCallback(UART_HandleTypeDef *huart) {
    if (huart->Instance == USART1) {
    	 uart1_kesme_sayaci++;  // <-- sadece bunu ekle, geri kalan aynı kalıyor
        // Sadece \n (Yeni Satır) karakterini satır sonu kabul et
        if (rx_data == '\n') {
            rx_buffer[rx_index] = '\0';
            if (rx_index > 0) {
                strncpy(gps_sentence, rx_buffer, rx_index + 1);
                sentence_ready = 1;
            }
            rx_index = 0;
        }
        // \r karakterini (Satır Başı) görmezden gel!
        else if (rx_data != '\r') {
            if (rx_index < 99) {
                rx_buffer[rx_index++] = rx_data;
            }
        }
        HAL_UART_Receive_IT(&huart1, &rx_data, 1);
    }
    for(uint8_t i = 0; i < uartCount; i++) {
		if(huart == uartHandlers[i]->uart) {
			UartHandler_t* uartHandler = uartHandlers[i];
			RingBuffer_Enqueue(uartHandler->ringBuffer, &uartHandler->rxByte, 1);
			HAL_UART_Receive_IT(uartHandler->uart, &uartHandler->rxByte, 1);
			break;
		}
	}
}
// İşlemci çöp veri duyup paniklediğinde onu hayatta tutan kalp masajı!
void HAL_UART_ErrorCallback(UART_HandleTypeDef *huart) {
    if (huart->Instance == USART1) {
        // Hata bayraklarını zorla temizle
        __HAL_UART_CLEAR_OREFLAG(huart);
        __HAL_UART_CLEAR_NEFLAG(huart);
        __HAL_UART_CLEAR_FEFLAG(huart);
        rx_index = 0;  // <-- BU EKSİKTİ, yarım satırı temizle
        // Kulakları tekrar aç ve dinlemeye devam et
        HAL_UART_Receive_IT(&huart1, &rx_data, 1);
    }
}
/* USER CODE END 4 */

void Error_Handler(void)
{
  __disable_irq();
  while (1)
  {
  }
}
